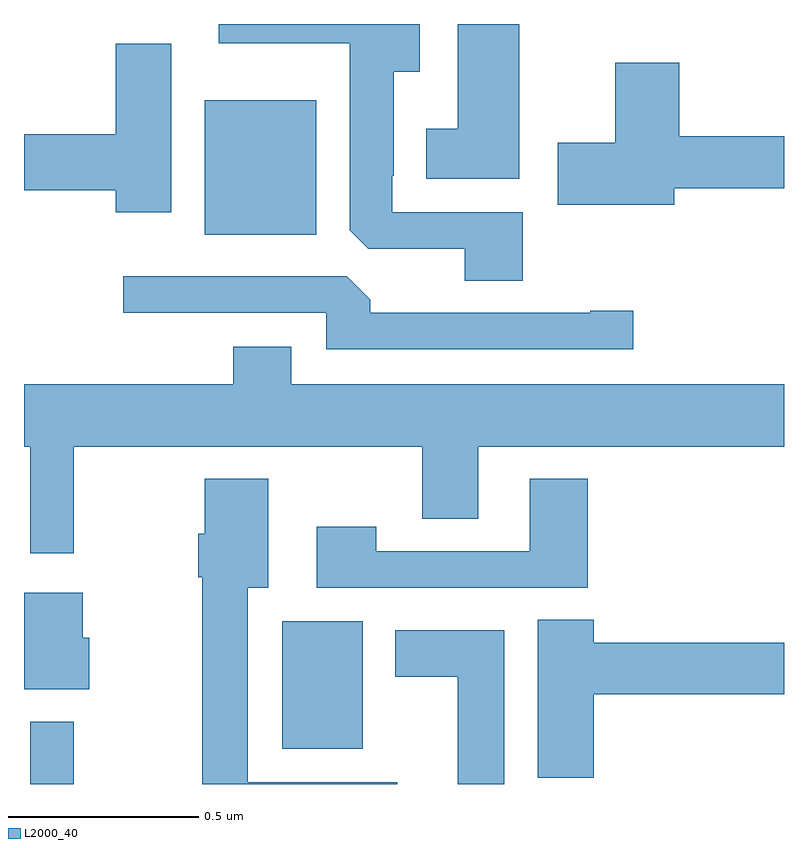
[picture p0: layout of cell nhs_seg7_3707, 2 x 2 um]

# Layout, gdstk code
import gdstk
lib = gdstk.Library(unit=1e-6, precision=1e-09)
def R(c, l, rs):  # rectangles x0, y0, x1, y1
    for r in rs: c.add(gdstk.rectangle(r[:2], r[2:], *l))
def P(c, l, *ps):  # polygons
    for p in ps: c.add(gdstk.Polygon(p, *l))
L2000_40 = (2000, 40)

nhs_seg7_3707 = lib.new_cell('nhs_seg7_3707')
R(nhs_seg7_3707, L2000_40, [(162.017,1061,162.131,1061.164), (162.68,1061.093,162.892,1061.428), (162.476,1062.446,162.769,1062.799)])
P(nhs_seg7_3707, L2000_40, [(163.303,1063),(163.142,1063),(163.142,1062.724),(163.058,1062.724),(163.058,1062.593),(163.303,1062.593)],
  [(163.313,1062.504),(162.969,1062.504),(162.969,1062.601),(162.973,1062.601),(162.973,1062.875),(163.042,1062.875),(163.042,1063),(162.513,1063),(162.513,1062.95),(162.857,1062.95),(162.857,1062.457),(162.906,1062.408),(163.16,1062.408),(163.16,1062.325),(163.313,1062.325)],
  [(162.388,1062.948),(162.242,1062.948),(162.242,1062.71),(162,1062.71),(162,1062.563),(162.242,1062.563),(162.242,1062.504),(162.388,1062.504)],
  [(163.711,1062.568),(164,1062.568),(164,1062.704),(163.724,1062.704),(163.724,1062.898),(163.556,1062.898),(163.556,1062.687),(163.404,1062.687),(163.404,1062.524),(163.711,1062.524)],
  [(163.603,1062.245),(163.49,1062.245),(163.49,1062.24),(162.911,1062.24),(162.911,1062.274),(162.849,1062.336),(162.261,1062.336),(162.261,1062.24),(162.795,1062.24),(162.795,1062.144),(163.603,1062.144)],
  [(162.131,1061.888),(163.048,1061.888),(163.048,1061.698),(163.195,1061.698),(163.195,1061.888),(164,1061.888),(164,1062.052),(162.703,1062.052),(162.703,1062.151),(162.551,1062.151),(162.551,1062.052),(162,1062.052),(162,1061.888),(162.017,1061.888),(162.017,1061.607),(162.131,1061.607)],
  [(163.484,1061.803),(163.331,1061.803),(163.331,1061.613),(162.927,1061.613),(162.927,1061.677),(162.771,1061.677),(162.771,1061.517),(163.484,1061.517)],
  [(162.982,1061.004),(162.589,1061.004),(162.589,1061.516),(162.643,1061.516),(162.643,1061.803),(162.476,1061.803),(162.476,1061.658),(162.458,1061.658),(162.458,1061.544),(162.469,1061.544),(162.469,1061),(162.982,1061)],
  [(162.172,1061.385),(162.154,1061.385),(162.154,1061.503),(162,1061.503),(162,1061.249),(162.172,1061.249)],
  [(163.499,1061.236),(164,1061.236),(164,1061.372),(163.499,1061.372),(163.499,1061.432),(163.352,1061.432),(163.352,1061.017),(163.499,1061.017)],
  [(163.264,1061.404),(162.977,1061.404),(162.977,1061.282),(163.142,1061.282),(163.142,1061),(163.264,1061)])

lib.write_gds('nhs_seg7_3707.gds')
